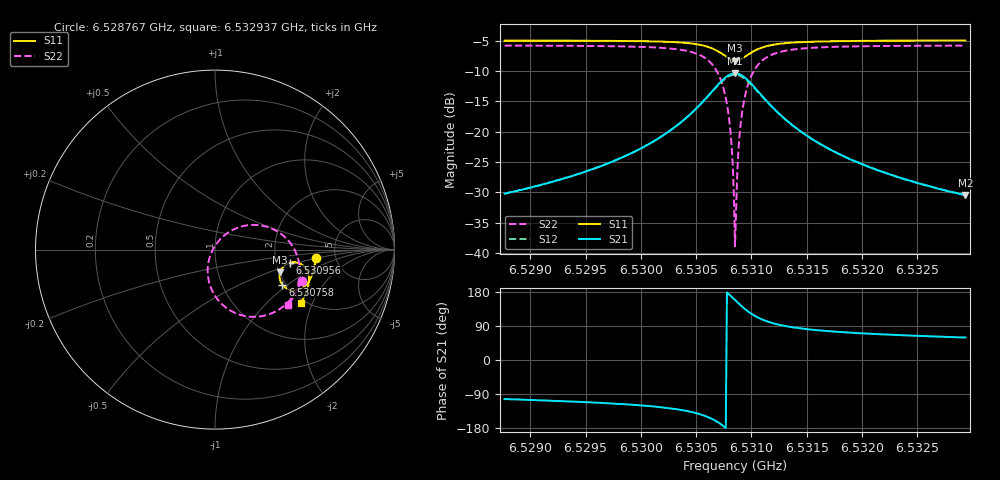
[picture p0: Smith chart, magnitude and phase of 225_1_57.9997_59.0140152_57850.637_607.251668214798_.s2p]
#  HZ  S  RI  R  50.00
! Rohde & Schwarz Vector Network Analyzer
! Rohde-Schwarz,ZNB20-2Port,1311601062101988,3.16
! Created: UTC 3/21/2024, 1:00:18 AM
! freq[Hz]  re:S11  im:S11  re:S21  im:S21  re:S12  im:S12  re:S22  im:S22
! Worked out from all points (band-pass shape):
!   401 points, 6.528767 GHz to 6.532937 GHz, reference 50 ohm
!   highest |S21| = -10.38 dB at 6.530852 GHz (marker M1); lowest = -30.5 dB at 6.532937 GHz (marker M2)
!   |S21| within 3 dB of the highest: 6.530644 GHz to 6.531061 GHz (417.1 kHz wide, 0.00639 % of centre)
!   lowest |S11| = -8.3 dB at 6.530852 GHz (marker M3), VSWR 2.25, Z = 101 - j30.1 ohm
!   |S11| at or under -10 dB: nowhere
!   |S22| runs from -38.9 to -5.8 dB; largest |S21 - S12| = 0.012
!   S11 on the Smith chart (normalised r, x): 6.528767 GHz: 3.49, -0.50; 6.530758 GHz: 1.92, -0.91; 6.530956 GHz: 2.38, -0.42; 6.532937 GHz: 1.90, -1.66
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6.5287672e9  0.5602 -0.0485  -0.00707 -0.03  -0.00762 -0.0298  0.4824 -0.1725
6.5294655e9  0.5511 -0.1068  -0.0161 -0.0428  -0.0173 -0.0424  0.4511 -0.236
6.5301639e9  0.5241 -0.1763  -0.0495 -0.0733  -0.0515 -0.0719  0.3695 -0.325
6.5304037e9  0.4979 -0.2068  -0.0886 -0.0926  -0.0915 -0.0894  0.2894 -0.3643
6.5305809e9  0.4547 -0.2266  -0.1561 -0.099  -0.1584 -0.0927  0.165 -0.3698
6.5306851e9  0.4103 -0.2222  -0.2248 -0.0729  -0.2239 -0.0635  0.0496 -0.3137
6.5307581e9  0.3755 -0.1956  -0.2753 -0.0152  -0.2697 -0.00531  -0.0249 -0.2072
6.5307998e9  0.3624 -0.1681  -0.2911 0.0371  -0.2823 0.0452  -0.041 -0.118
6.5308206e9  0.3599 -0.152  -0.2916 0.0665  -0.2817 0.0731  -0.0362 -0.0692
6.530831e9  0.3599 -0.1437  -0.2898 0.0817  -0.2795 0.0873  -0.0303 -0.045
6.5308415e9  0.3609 -0.1351  -0.2864 0.0967  -0.2757 0.1013  -0.0219 -0.0212
6.5308519e9  0.3628 -0.127  -0.2816 0.1114  -0.2707 0.115  -0.0112 0.0019
6.5308623e9  0.3655 -0.1189  -0.2751 0.1254  -0.2642 0.128  0.00192 0.0235
6.5308727e9  0.3693 -0.1114  -0.2674 0.1388  -0.2566 0.1405  0.0168 0.0438
6.5308832e9  0.3736 -0.1041  -0.2584 0.1512  -0.2482 0.152  0.0336 0.0626
6.530904e9  0.3841 -0.0918  -0.238 0.1726  -0.2283 0.1719  0.0713 0.0936
6.5309561e9  0.4166 -0.073  -0.1784 0.2043  -0.1718 0.2015  0.1752 0.1347
6.5310291e9  0.4591 -0.0726  -0.1042 0.2065  -0.1007 0.2036  0.2997 0.1236
6.5311333e9  0.4964 -0.0943  -0.0402 0.1762  -0.0385 0.1745  0.4026 0.0563
6.5315503e9  0.5234 -0.1734  0.0152 0.0851  0.0162 0.0849  0.4723 -0.1338
6.5322487e9  0.5055 -0.2451  0.0174 0.041  0.0182 0.0407  0.4432 -0.2491
6.5329366e9  0.4798 -0.2969  0.0153 0.0256  0.0159 0.0254  0.408 -0.3091
